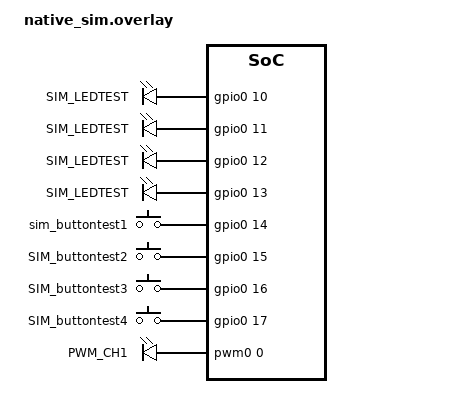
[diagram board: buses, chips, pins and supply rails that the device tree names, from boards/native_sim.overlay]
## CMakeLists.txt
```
cmake_minimum_required(VERSION 3.20.0)

# --------------------------------------------------
# native_sim-only overlay generation
# --------------------------------------------------
if(DEFINED BOARD AND BOARD STREQUAL "native_sim")

  message(STATUS "native_sim build detected - generating devicetree overlay")

  find_package(Python3 REQUIRED COMPONENTS Interpreter)
  
  set(INPUT_OVERLAY ${CMAKE_CURRENT_SOURCE_DIR}/boards/native_posix.overlay)
  set(LED_DATA ${CMAKE_BINARY_DIR}/led_aliases.cmake)
  
  set(EXTRA_DTC_OVERLAY_FILE
      ${CMAKE_CURRENT_SOURCE_DIR}/boards/native_sim.overlay
  )

endif()

# --------------------------------------------------
# Standard Zephyr application setup
# --------------------------------------------------

find_package(Zephyr REQUIRED HINTS $ENV{ZEPHYR_BASE})  # defines 'app' target
project(pwm_tests)

add_subdirectory(drivers)
set(DTC_OVERLAY_BINDINGS_DIR ${CMAKE_CURRENT_SOURCE_DIR}/dts/bindings)

target_sources(app PRIVATE src/main.c)
target_sources(app PRIVATE src/calc_cycles.c)
target_sources(app PRIVATE testing/bme554_lib.c)
target_sources(app PRIVATE testing/pwm_steady_test.c)

target_include_directories(app PRIVATE testing)

target_compile_definitions(app PRIVATE "main=student_main")
```

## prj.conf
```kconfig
CONFIG_LOG=y
CONFIG_LOG_MODE_DEFERRED=y
CONFIG_LOG_BUFFER_SIZE=4096
# CONFIG_MAIN_STACK_SIZE=4096

CONFIG_SMF=y
CONFIG_EVENTS=y
CONFIG_ADC=y
CONFIG_PWM=y

CONFIG_DEBUG_OPTIMIZATIONS=y
CONFIG_DEBUG_THREAD_INFO=y

CONFIG_FPU=y
CONFIG_ADC_ASYNC=y
```

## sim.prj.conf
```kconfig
CONFIG_GPIO=y
CONFIG_GPIO_EMUL=y

CONFIG_INPUT=y
CONFIG_INPUT_GPIO_KEYS=y
CONFIG_LOG=y
CONFIG_LOG_MODE_IMMEDIATE=y
CONFIG_LOG_MODE_DEFERRED=n
CONFIG_LOG_BUFFER_SIZE=0
CONFIG_LOG_DEFAULT_LEVEL=4
CONFIG_EVENTS=y

CONFIG_ZTEST=y
CONFIG_GPIO_EMUL=y
# CONFIG_LOG_BACKEND_UART=y
```

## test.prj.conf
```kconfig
# Test-specific configuration file
# This file enables ztest and is used when building for testing

CONFIG_LOG=y
CONFIG_LOG_MODE_IMMEDIATE=y
CONFIG_LOG_MODE_DEFERRED=n
CONFIG_LOG_DEFAULT_LEVEL=4

CONFIG_GPIO=y
CONFIG_EVENTS=y

# Enable Zephyr Test Framework (ztest) for unit testing
CONFIG_ZTEST=y
CONFIG_ZTEST_STACK_SIZE=2048

CONFIG_LOG=y
CONFIG_LOG_MODE_DEFERRED=y
CONFIG_LOG_BUFFER_SIZE=4096
# CONFIG_MAIN_STACK_SIZE=4096

CONFIG_SMF=y
CONFIG_EVENTS=y
CONFIG_ADC=y
CONFIG_PWM=y

CONFIG_DEBUG_OPTIMIZATIONS=y
CONFIG_DEBUG_THREAD_INFO=y

CONFIG_FPU=y
CONFIG_ADC_ASYNC=y

# When ztest is enabled, it provides its own main() function
# The student's main.c will be excluded from the test build
```

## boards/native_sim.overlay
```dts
/ {
    aliases {
        heartbeat = &sim_ledtest1;
        ivpump = &sim_ledtest2;
        buzzer = &sim_ledtest3;
        error = &sim_ledtest4;
        sleepbutton = &sim_buttontest1;
        frequpbutton = &sim_buttontest2;
        freqdownbutton = &sim_buttontest3;
        resetbutton = &sim_buttontest4;
        pwm1 = &pwmch1;
    };

    sim_leds {
        compatible = "gpio-leds";
        sim_ledtest1: led_10 {
            gpios = <&gpio0 10 GPIO_ACTIVE_HIGH>;
            label = "SIM_LEDTEST";
        };
        sim_ledtest2: led_11 {
            gpios = <&gpio0 11 GPIO_ACTIVE_HIGH>;
            label = "SIM_LEDTEST";
        };
        sim_ledtest3: led_12 {
            gpios = <&gpio0 12 GPIO_ACTIVE_HIGH>;
            label = "SIM_LEDTEST";
        };
        sim_ledtest4: led_13 {
            gpios = <&gpio0 13 GPIO_ACTIVE_HIGH>;
            label = "SIM_LEDTEST";
        };
    };
    
    sim_keys {
        compatible = "gpio-keys";
        sim_buttontest1: key_14 {
            gpios = <&gpio0 14 GPIO_ACTIVE_HIGH>;
            label = "sim_buttontest1";
            zephyr,code = <1>; /* KEY_ESC */
        };
        sim_buttontest2: key_15 {
            gpios = <&gpio0 15 GPIO_ACTIVE_HIGH>;
            label = "SIM_buttontest2";
            zephyr,code = <1>; /* KEY_ESC */
        };
        sim_buttontest3: key_16 {
            gpios = <&gpio0 16 GPIO_ACTIVE_HIGH>;
            label = "SIM_buttontest3";
            zephyr,code = <1>; /* KEY_ESC */
        };
        sim_buttontest4: key_17 {
            gpios = <&gpio0 17 GPIO_ACTIVE_HIGH>;
            label = "SIM_buttontest4";
            zephyr,code = <1>; /* KEY_ESC */
        };
    };
    
    pwm0: pwm-sim {
        compatible = "zephyr,native-sim-pwm";
        #pwm-cells = <3>;  /* index, period, polarity */
        status = "okay";
    };
    
    pwm {
        compatible = "pwm-leds";
        pwmch1: pwm_1 {
            pwms = <&pwm0 0 1000000 1>; /* channel 0, 1ms period, inverted */
            label = "PWM_CH1";
        };
    };
};

&gpio0 {
    status = "okay";
};
```

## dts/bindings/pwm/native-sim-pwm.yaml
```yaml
# File: dts/bindings/pwm/native-sim-pwm.yaml
description: "Simulated PWM controller for native_sim"
compatible: "zephyr,native-sim-pwm"
# Each PWM spec has 3 cells: <index period polarity>
# index: PWM channel number
# period: PWM period in nanoseconds
# polarity: 0 = normal, 1 = inverted
pwm-cells:
  - index
  - period
  - polarity
```

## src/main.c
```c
// sample code

#include <zephyr/kernel.h>
#include <zephyr/device.h>
#include <zephyr/devicetree.h>
#include <zephyr/drivers/gpio.h> 
#include <zephyr/logging/log.h>  // needs CONFIG_LOG=y in your prj.conf
#include <zephyr/drivers/adc.h> // CONFIG_ADC=y
#include <zephyr/drivers/pwm.h> // CONFIG_PWM=y
#include <zephyr/smf.h> // CONFIG_SMF=y

#include <zephyr/kernel.h>
#include <zephyr/device.h>
#include <zephyr/drivers/pwm.h>
#include <zephyr/sys/printk.h>

/* Use Devicetree alias for PWM */
static const struct pwm_dt_spec pwm1 = PWM_DT_SPEC_GET(DT_ALIAS(pwm1));

void main(void)
{
    if (!device_is_ready(pwm1.dev)) {
        printk("PWM device not ready\n");
        return;
    }

    printk("Setting PWM LED to 50%% duty cycle\n");

    /* Use the period from the Devicetree spec */
    uint32_t period = pwm1.period; 

    /* 50% duty cycle → pulse = period / 2 */
    uint32_t pulse = period / 2;

    /* Set pulse only, keeping period the same */
    pwm_set_pulse_dt(&pwm1, pulse);

    while (1) {
        k_sleep(K_SECONDS(1));  // keep running
    }
}
```

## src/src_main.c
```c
#include <zephyr/kernel.h>
#include <zephyr/device.h>
#include <zephyr/devicetree.h>
#include <zephyr/drivers/gpio.h> 
#include <zephyr/logging/log.h>  // needs CONFIG_LOG=y in your prj.conf
#include <zephyr/drivers/adc.h> // CONFIG_ADC=y
#include <zephyr/drivers/pwm.h> // CONFIG_PWM=y
#include <zephyr/smf.h> // CONFIG_SMF=y

#include "calc_cycles.h"

LOG_MODULE_REGISTER(main, LOG_LEVEL_DBG);

/* DEFINE MACROS */
#define MS_PER_HZ                       1000
#define HB_ON_TIME                      250
#define MAX_FREQ_HZ                     5
#define MIN_FREQ_HZ                     1
#define MIN_V_MV                        0
#define MAX_V_MV                        3000
#define READ_EVENT                      BIT(0)
#define SLEEP_EVENT                     BIT(1)
#define TIMER_COMPLETE_EVENT            BIT(2)
#define RESET_EVENT                     BIT(3)
#define BLINKING_TIME_MS                5000
#define BUFFER_ARRAY_LEN                800
#define SAMPLE_INTERVAL                 2500
#define ADC_DT_SPEC_GET_BY_ALIAS(adc_alias)                 \
{                                                           \
    .dev = DEVICE_DT_GET(DT_PARENT(DT_ALIAS(adc_alias))),   \
    .channel_id = DT_REG_ADDR(DT_ALIAS(adc_alias)),         \
    ADC_CHANNEL_CFG_FROM_DT_NODE(DT_ALIAS(adc_alias))       \
}

/* DEFINE GLOBALS AND DT-BASED HARDWARE STRUCTS */
// buttons
const struct gpio_dt_spec read_button = GPIO_DT_SPEC_GET(DT_ALIAS(readbutton), gpios);
const struct gpio_dt_spec sleep_button = GPIO_DT_SPEC_GET(DT_ALIAS(sleepbutton), gpios);
const struct gpio_dt_spec reset_button = GPIO_DT_SPEC_GET(DT_ALIAS(resetbutton), gpios);

// LEDs
const struct gpio_dt_spec heartbeat_led = GPIO_DT_SPEC_GET(DT_ALIAS(heartbeat), gpios);
const struct gpio_dt_spec blinker_led = GPIO_DT_SPEC_GET(DT_ALIAS(blinker), gpios);
const struct gpio_dt_spec error_led = GPIO_DT_SPEC_GET(DT_ALIAS(error), gpios);

// PWM
static const struct pwm_dt_spec pwm1 = PWM_DT_SPEC_GET(DT_ALIAS(pwm1));

/* DEFINE CALLBACK FUNCTIONS */
void read_button_callback(const struct device *dev, struct gpio_callback *cb, uint32_t pins);
void sleep_button_callback(const struct device *dev, struct gpio_callback *cb, uint32_t pins);
void reset_button_callback(const struct device *dev, struct gpio_callback *cb, uint32_t pins);

/* DEFINE TIMER FUNCTIONS */
void blinking_interrupt_handler(struct k_timer *blinking_timer);

/* DEFINE THREAD FUNCTIONS */
void heartbeat_thread(void *, void *, void *);

/* DEFINE KERNEL EVENTS */
K_EVENT_DEFINE(button_events);

/* INITIALIZE GPIO CALLBACK STRUCTS */
static struct gpio_callback read_button_cb;
static struct gpio_callback sleep_button_cb;
static struct gpio_callback reset_button_cb;

/* INITIALIZE ADC STRUCT */
static const struct adc_dt_spec adc_vadc = ADC_DT_SPEC_GET_BY_ALIAS(vadc);

/* DEFINE TIMERS */
K_TIMER_DEFINE(blinking_timer, blinking_interrupt_handler, NULL);

/* DEFINE THREADS */
K_THREAD_DEFINE(heartbeat_thread_id, 1024, heartbeat_thread, NULL, NULL, NULL, 5, 0, 0);

/* DECLARE STRUCT STATE TABLE AND STRUCT */
struct s_object {
    struct smf_ctx ctx;
    
    /* USER-DEFINED VARS FOR STATE MACHINE*/
    int32_t millivolts;
    float freq;
    float ontime;
    float offtime;
    float brightness;
    float dutycycle;
};

struct s_object s_context = {
    .millivolts = 0,
    .freq = 0,
    .ontime = 0,
    .offtime = 0,
    .brightness = 0,
    .dutycycle = 0.
};

int16_t buf;
struct adc_sequence sequence = {
    .buffer = &buf,
    .buffer_size = sizeof(buf), // bytes
};

int16_t diff_buf[BUFFER_ARRAY_LEN];
int buf_index = 0;
struct adc_sequence diff_sequence = {
    .buffer = &buf,
    .buffer_size = sizeof(buf), // bytes
};

/* DECLARE STATE FUNCTIONS */
static void init(void *o);
static void reset(void *o);
static void idle_entry(void *o);
static void idle_run(void *o);
static void idle_exit(void *o);
static void sleep_run(void *o);
static void reading_entry(void *o);
static void reading_run(void *o);
static void reading_exit(void *o);
static void blinking_entry(void *o);
static void blinking_run(void *o);
static void blinking_exit(void *o);
static void error_entry(void *o);
static void error_run(void *o);
static void error_exit(void *o);

/* DEFINE STATES FOR STATE MACHINE */
enum state { INIT, RESET, IDLE, SLEEP, READING, BLINKING, ERROR };

/* POPULATE STATE TABLE */
static const struct smf_state states[] = {
    [INIT] = SMF_CREATE_STATE(NULL, init, NULL, NULL, NULL),
    [RESET] = SMF_CREATE_STATE(NULL, reset, NULL, NULL, NULL),
    [IDLE] = SMF_CREATE_STATE(idle_entry, idle_run, idle_exit, NULL, NULL),
    [SLEEP] = SMF_CREATE_STATE(NULL, sleep_run, NULL, NULL, NULL),
    [READING] = SMF_CREATE_STATE(reading_entry, reading_run, reading_exit, NULL, NULL),
    [BLINKING] = SMF_CREATE_STATE(blinking_entry, blinking_run, blinking_exit, NULL, NULL),
    [ERROR] = SMF_CREATE_STATE(error_entry, error_run, error_exit, NULL, NULL),
};

/* DECLARE GLOBAL VARIABLES */
int timer_error = 0;

int main(void)
{
    smf_set_initial(SMF_CTX(&s_context), &states[INIT]);
    
    while (1) {
        if (timer_error < 0) {
            return timer_error;
        }
        
        int err = smf_run_state(SMF_CTX(&s_context));
        if (err) {
            /* handle return code and terminate state machine */
            smf_set_terminate(SMF_CTX(&s_context), err);
            break;
        }
    }
    
    return 0;
}

void read_button_callback(const struct device *dev, struct gpio_callback *cb, uint32_t pins) {
    k_event_post(&button_events, READ_EVENT);
}

void sleep_button_callback(const struct device *dev, struct gpio_callback *cb, uint32_t pins) {
    k_event_post(&button_events, SLEEP_EVENT);
}

void reset_button_callback(const struct device *dev, struct gpio_callback *cb, uint32_t pins) {
    k_event_post(&button_events, RESET_EVENT);
}

void heartbeat_thread(void *, void *, void *) {
    while (1) {
        k_msleep(HB_ON_TIME);  // scheduler can run other tasks now
        int err = gpio_pin_toggle_dt(&heartbeat_led);
        if (err < 0) {
            LOG_ERR("Failed to toggle heartbeat LED.");
            timer_error = err;
            return;
        }
        LOG_INF("Heartbeat LED toggled");
        k_msleep(MS_PER_HZ - HB_ON_TIME); // scheduler can run other tasks now
        err = gpio_pin_toggle_dt(&heartbeat_led);
        if (err < 0) {
            LOG_ERR("Failed to toggle heartbeat LED.");
            timer_error = err;
            return;
        }
        LOG_INF("Heartbeat LED toggled");
    }
}

void blinking_interrupt_handler(struct k_timer *blinking_timer) {
    k_event_post(&button_events, TIMER_COMPLETE_EVENT);
}

static void init(void *o) {
    int err = 0;
    
    /* CHECK INTERFACE READY */
    if (!device_is_ready(read_button.port)) {
        LOG_ERR("gpio0 interface not ready.");
        smf_set_terminate(SMF_CTX(&s_context), -1);
    }
    if (!device_is_ready(adc_vadc.dev)) {
        LOG_ERR("ADC controller device(s) not ready");
        smf_set_terminate(SMF_CTX(&s_context), -1);
    }
    if (!device_is_ready(pwm1.dev))  {
        LOG_ERR("PWM device %s is not ready.", pwm1.dev->name);
        smf_set_terminate(SMF_CTX(&s_context), -1);
    }
    
    /* CONFIGURE BUTTON GPIO PINS */
    err = gpio_pin_configure_dt(&read_button, GPIO_INPUT);
    if (err < 0) {
        LOG_ERR("Cannot configure read button.");
        smf_set_terminate(SMF_CTX(&s_context), err);
    }
    err = gpio_pin_configure_dt(&sleep_button, GPIO_INPUT);
    if (err < 0) {
        LOG_ERR("Cannot configure sleep button.");
        smf_set_terminate(SMF_CTX(&s_context), err);
    }
    err = gpio_pin_configure_dt(&reset_button, GPIO_INPUT);
    if (err < 0) {
        LOG_ERR("Cannot configure reset button.");
        smf_set_terminate(SMF_CTX(&s_context), err);
    }
    
    /* CONFIGURE BUTTON CALLBACKS */
    // read
    err = gpio_pin_interrupt_configure_dt(&read_button, GPIO_INT_EDGE_TO_ACTIVE); 
    if (err < 0) {
        LOG_ERR("Cannot attach callback to sw0.");
        smf_set_terminate(SMF_CTX(&s_context), err);
    }
    gpio_init_callback(&read_button_cb, read_button_callback, BIT(read_button.pin));
    err = gpio_add_callback_dt(&read_button, &read_button_cb);
    if (err < 0) {
        LOG_ERR("Cannot add callback to sw0.");
        smf_set_terminate(SMF_CTX(&s_context), err);
    }
    // sleep
    err = gpio_pin_interrupt_configure_dt(&sleep_button, GPIO_INT_EDGE_TO_ACTIVE); 
    if (err < 0) {
        LOG_ERR("Cannot attach callback to sw1.");
        smf_set_terminate(SMF_CTX(&s_context), err);
    }
    gpio_init_callback(&sleep_button_cb, sleep_button_callback, BIT(sleep_button.pin));
    err = gpio_add_callback_dt(&sleep_button, &sleep_button_cb);
    if (err < 0) {
        LOG_ERR("Cannot add callback to sw1.");
        smf_set_terminate(SMF_CTX(&s_context), err);
    }
    // reset
    err = gpio_pin_interrupt_configure_dt(&reset_button, GPIO_INT_EDGE_TO_ACTIVE); 
    if (err < 0) {
        LOG_ERR("Cannot attach callback to sw3.");
        smf_set_terminate(SMF_CTX(&s_context), err);
    }
    gpio_init_callback(&reset_button_cb, reset_button_callback, BIT(reset_button.pin));
    err = gpio_add_callback_dt(&reset_button, &reset_button_cb);
    if (err < 0) {
        LOG_ERR("Cannot add callback to sw3.");
        smf_set_terminate(SMF_CTX(&s_context), err);
    }
    
    /* CONFIGURE LEDs */
    err = gpio_pin_configure_dt(&heartbeat_led, GPIO_OUTPUT_ACTIVE);
    if (err < 0) {
        LOG_ERR("Cannot configure heartbeat LED.");
        smf_set_terminate(SMF_CTX(&s_context), err);
    }
    err = gpio_pin_configure_dt(&blinker_led, GPIO_OUTPUT_INACTIVE);
    if (err < 0) {
        LOG_ERR("Cannot configure iv_pump LED.");
        smf_set_terminate(SMF_CTX(&s_context), err);
    }
    err = gpio_pin_configure_dt(&error_led, GPIO_OUTPUT_INACTIVE);
    if (err < 0) {
        LOG_ERR("Cannot configure error LED.");
        smf_set_terminate(SMF_CTX(&s_context), err);
    }
    
    /* CONFIGURE ADC CHANNEL */
    err = adc_channel_setup_dt(&adc_vadc);
    if (err < 0) {
        LOG_ERR("Could not setup ADC channel (%d)", err);
        smf_set_terminate(SMF_CTX(&s_context), err);
    }
    
    k_event_init(&button_events);
    
    smf_set_state(SMF_CTX(&s_context), &states[IDLE]);
}

static void reset(void *o) {
    smf_set_state(SMF_CTX(&s_context), &states[IDLE]);
}

static void idle_entry(void *o) {
    int err = 0;
    
    /* RECONFIGURE BUTTONS TO ENABLE CALLBACKS */
    err = gpio_pin_interrupt_configure_dt(&read_button, GPIO_INT_EDGE_TO_ACTIVE); 
    if (err < 0) {
        LOG_ERR("Cannot attach callback to sw1.");
        smf_set_terminate(SMF_CTX(&s_context), err);
    }
}

static void idle_run(void *o) {
    uint32_t events = k_event_wait(&button_events, READ_EVENT | SLEEP_EVENT | RESET_EVENT, true, K_FOREVER);
    if (events & READ_EVENT) {
        LOG_INF("Read button pressed");
        smf_set_state(SMF_CTX(&s_context), &states[READING]);
    }
    if (events & SLEEP_EVENT) {
        LOG_INF("Sleep button pressed");
        smf_set_state(SMF_CTX(&s_context), &states[SLEEP]);
    }
    if (events & RESET_EVENT) {
        LOG_INF("Reset button pressed");
        smf_set_state(SMF_CTX(&s_context), &states[RESET]);
    }
}

static void idle_exit(void *o) {
    int err = 0;
    
    /* RECONFIGURE BUTTONS TO DISABLE CALLBACKS */
    err = gpio_pin_interrupt_configure_dt(&read_button, GPIO_INT_DISABLE); 
    if (err < 0) {
        LOG_ERR("Cannot attach callback to sw0.");
        smf_set_terminate(SMF_CTX(&s_context), err);
    }
}

static void sleep_run(void *o) {
    uint32_t events = k_event_wait(&button_events, SLEEP_EVENT | RESET_EVENT, true, K_FOREVER);
    if (events & SLEEP_EVENT) {
        LOG_INF("Sleep button pressed");
        smf_set_state(SMF_CTX(&s_context), &states[IDLE]);
    }
    if (events & RESET_EVENT) {
        LOG_INF("Reset button pressed");
        smf_set_state(SMF_CTX(&s_context), &states[RESET]);
    }
}

static void reading_entry(void *o) {
    int err = 0;
    
    /* RECONFIGURE BUTTONS TO DISABLE CALLBACKS */
    err = gpio_pin_interrupt_configure_dt(&sleep_button, GPIO_INT_DISABLE); 
    if (err < 0) {
        LOG_ERR("Cannot attach callback to sw1.");
        smf_set_terminate(SMF_CTX(&s_context), err);
    }
    err = gpio_pin_interrupt_configure_dt(&reset_button, GPIO_INT_DISABLE); 
    if (err < 0) {
        LOG_ERR("Cannot attach callback to sw3.");
        smf_set_terminate(SMF_CTX(&s_context), err);
    }
    
    (void)adc_sequence_init_dt(&adc_vadc, &sequence);
}

static void reading_run(void *o) {
    int ret;
    ret = adc_read(adc_vadc.dev, &sequence);
    if (ret < 0) {
        LOG_ERR("Could not read (%d)", ret);
        smf_set_state(SMF_CTX(&s_context), &states[ERROR]);
        return;
    } else {
        LOG_DBG("Raw ADC Buffer: %d", buf);
    }
    
    int32_t val_mv;
    val_mv = buf;
    ret = adc_raw_to_millivolts_dt(&adc_vadc, &val_mv);
    if (ret < 0) {
        LOG_ERR("Buffer cannot be converted to mV; returning raw buffer value.");
    } else {
        LOG_INF("ADC Value (mV): %d", val_mv);
    }
    
    s_context.millivolts = val_mv;
    
    if (val_mv < MIN_V_MV || val_mv > MAX_V_MV) {
        smf_set_state(SMF_CTX(&s_context), &states[ERROR]);
    } else {
        smf_set_state(SMF_CTX(&s_context), &states[BLINKING]);
    }
    
    float max_v = MAX_V_MV;
    s_context.dutycycle = (s_context.millivolts / max_v) * 100;
    s_context.brightness = s_context.dutycycle;
    LOG_INF("Mapped duty cycle: %f", (double)s_context.dutycycle);
}

static void reading_exit(void *o) {
    int err = 0;
    
    /* RECONFIGURE BUTTONS TO ENABLE CALLBACKS */
    err = gpio_pin_interrupt_configure_dt(&sleep_button, GPIO_INT_EDGE_TO_ACTIVE); 
    if (err < 0) {
        LOG_ERR("Cannot attach callback to sw1.");
        smf_set_terminate(SMF_CTX(&s_context), err);
    }
    err = gpio_pin_interrupt_configure_dt(&reset_button, GPIO_INT_EDGE_TO_ACTIVE); 
    if (err < 0) {
        LOG_ERR("Cannot attach callback to sw3.");
        smf_set_terminate(SMF_CTX(&s_context), err);
    }
}

static void blinking_entry(void *o) {
    int err;
    
    /* TURN ON LED */
    err =  gpio_pin_set_dt(&blinker_led, 1);
    if (err < 0) {
        LOG_ERR("Failed to set blinker LED.");
        smf_set_terminate(SMF_CTX(&s_context), err);
    }
}

static void blinking_run(void *o) {
    int err;
    
    /* SET PWM PULSE */
    err = pwm_set_pulse_dt(&pwm1, pwm1.period/(100/s_context.dutycycle));
    if (err) {
        LOG_ERR("Could not set pwm1 driver.");
    }
    
    /* START TIMERS */
    k_timer_start(&blinking_timer,
                  K_MSEC(BLINKING_TIME_MS),
                  K_NO_WAIT);
    
    uint32_t events = k_event_wait(&button_events, TIMER_COMPLETE_EVENT | SLEEP_EVENT | RESET_EVENT, true, K_FOREVER);
    if (events & TIMER_COMPLETE_EVENT) {
        LOG_INF("Timer is complete!");
        smf_set_state(SMF_CTX(&s_context), &states[IDLE]);
    }
    if (events & SLEEP_EVENT) {
        LOG_INF("Sleep button pressed");
        smf_set_state(SMF_CTX(&s_context), &states[SLEEP]);
    }
    if (events & RESET_EVENT) {
        LOG_INF("Reset button pressed");
        smf_set_state(SMF_CTX(&s_context), &states[RESET]);
    }
}

static void blinking_exit(void *o) {
    int err;
    
    /* STOP TIMERS */
    k_timer_stop(&blinking_timer);
    
    /* SET PWM PULSE */
    err = pwm_set_pulse_dt(&pwm1, 0);
    if (err) {
        LOG_ERR("Could not set pwm1 driver.");
    }
    
    LOG_INF("Blinking timer complete");
}

static void error_entry(void *o) {
    int err = 0;
    
    /* RECONFIGURE BUTTON TO DISABLE CALLBACK */
    err = gpio_pin_interrupt_configure_dt(&sleep_button, GPIO_INT_DISABLE); 
    if (err < 0) {
        LOG_ERR("Cannot attach callback to sw1.");
        smf_set_terminate(SMF_CTX(&s_context), err);
    }
    
    /* TURN ON LED */
    err =  gpio_pin_set_dt(&error_led, 1);
    if (err < 0) {
        LOG_ERR("Failed to set error LED.");
        smf_set_terminate(SMF_CTX(&s_context), err);
    }
}

static void error_run(void *o) {
    uint32_t events = k_event_wait(&button_events, RESET_EVENT, true, K_FOREVER);
    if (events & RESET_EVENT) {
        LOG_INF("Reset button pressed");
        smf_set_state(SMF_CTX(&s_context), &states[RESET]);
    }
}

static void error_exit(void *o) {
    int err = 0;
    
    /* RECONFIGURE BUTTON TO ENABLE CALLBACK */
    err = gpio_pin_interrupt_configure_dt(&sleep_button, GPIO_INT_EDGE_TO_ACTIVE); 
    if (err < 0) {
        LOG_ERR("Cannot attach callback to sw1.");
        smf_set_terminate(SMF_CTX(&s_context), err);
    }
    
    /* TURN OFF LED */
    err =  gpio_pin_set_dt(&error_led, 0);
    if (err < 0) {
        LOG_ERR("Failed to set error LED.");
        smf_set_terminate(SMF_CTX(&s_context), err);
    }
}
```
